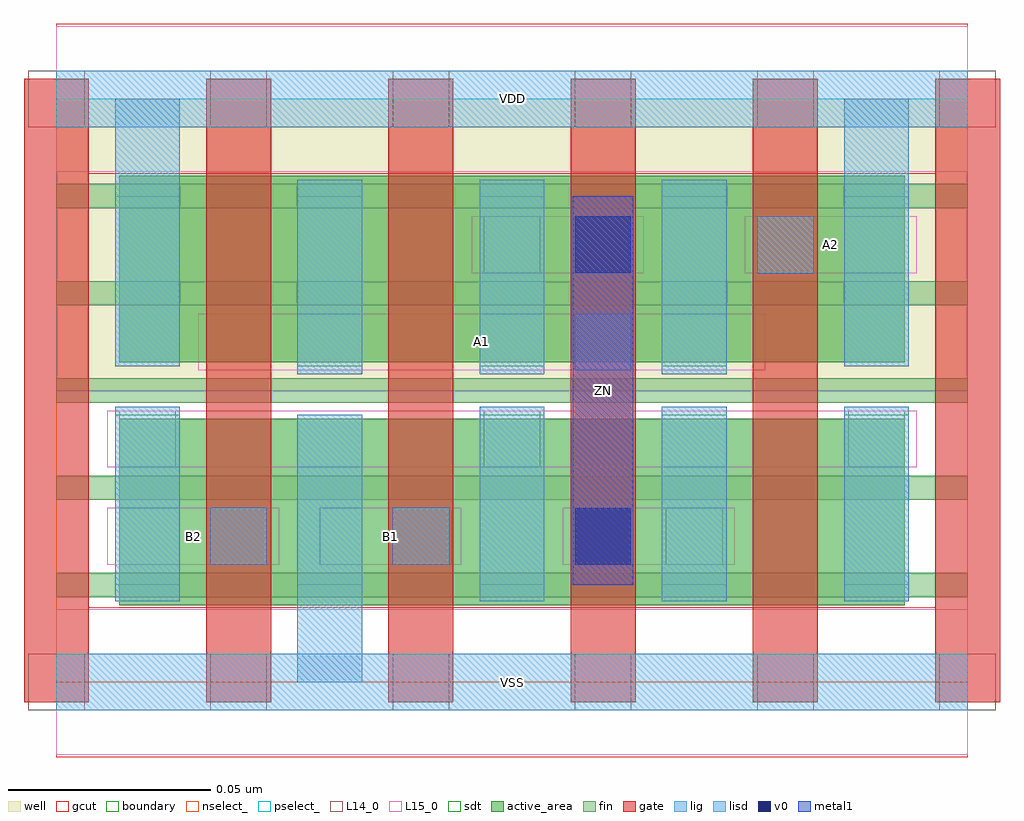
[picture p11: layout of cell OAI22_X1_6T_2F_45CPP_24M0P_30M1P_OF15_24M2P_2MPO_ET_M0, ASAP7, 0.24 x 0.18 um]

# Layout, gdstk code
import gdstk
lib = gdstk.Library(unit=1e-6, precision=2.5e-10)
def R(c, l, rs):  # rectangles x0, y0, x1, y1
    for r in rs: c.add(gdstk.rectangle(r[:2], r[2:], *l))
def A(c, l, x, y, w, h, nx, ny, dx, dy):  # array of equal rectangles
    R(c, l, [(x+i*dx, y+j*dy, x+i*dx+w, y+j*dy+h) for i in range(nx) for j in range(ny)])
well = (1, 0)
fin = (2, 0)
gate = (7, 0)
gcut = (10, 0)
active_area = (11, 0)
nselect_ = (12, 0)
pselect_ = (13, 0)
L14_0 = (14, 0)
L15_0 = (15, 0)
lig = (16, 0)
lisd = (17, 0)
v0 = (18, 0)
metal1 = (19, 0)
sdt = (88, 0)
boundary = (100, 0)

oai22_x1_6t_2f_45cpp_24m = lib.new_cell('OAI22_X1_6T_2F_45CPP_24M0P_30M1P_OF15_24M2P_2MPO_ET_M0')
R(oai22_x1_6t_2f_45cpp_24m, well, [(0,0.072,0.225,0.144)])
A(oai22_x1_6t_2f_45cpp_24m, fin, 0, 0.021, 0.225, 0.006, 1, 5, 0, 0.024)
A(oai22_x1_6t_2f_45cpp_24m, gate, -0.008, -0.005, 0.016, 0.154, 6, 1, 0.045, 0)
R(oai22_x1_6t_2f_45cpp_24m, gcut, [(0,-0.0185,0.225,0.0185), (-0.008,-0.005,0.008,0.149), (0.217,-0.005,0.233,0.149), (0,0.1255,0.225,0.1625)])
A(oai22_x1_6t_2f_45cpp_24m, active_area, 0.0155, 0.019, 0.059, 0.046, 4, 2, 0.045, 0.06)
R(oai22_x1_6t_2f_45cpp_24m, nselect_, [(0,0,0.225,0.072)])
R(oai22_x1_6t_2f_45cpp_24m, pselect_, [(0,0.072,0.225,0.144)])
A(oai22_x1_6t_2f_45cpp_24m, L14_0, -0.007, -0.007, 0.014, 0.014, 6, 2, 0.045, 0.144)
A(oai22_x1_6t_2f_45cpp_24m, L14_0, 0.0155, 0.053, 0.014, 0.014, 3, 1, 0.09, 0)
R(oai22_x1_6t_2f_45cpp_24m, L14_0, [(0.038,0.029,0.052,0.043), (0.083,0.029,0.097,0.043), (0.1505,0.029,0.1645,0.043), (0.128,0.077,0.142,0.091), (0.1055,0.101,0.1195,0.115), (0.173,0.101,0.187,0.115)])
R(oai22_x1_6t_2f_45cpp_24m, L15_0, [(0,-0.018,0.225,0.018), (0.0125,0.029,0.055,0.043), (0.065,0.029,0.1,0.043), (0.125,0.029,0.1675,0.043), (0.0125,0.053,0.2125,0.067), (0.035,0.077,0.175,0.091), (0.1025,0.101,0.145,0.115), (0.17,0.101,0.2125,0.115), (0,0.126,0.225,0.162)])
R(oai22_x1_6t_2f_45cpp_24m, lig, [(0,-0.007,0.225,0.007), (0.038,0.029,0.052,0.043), (0.083,0.029,0.097,0.043), (0.128,0.077,0.142,0.091), (0.173,0.101,0.187,0.115), (0,0.137,0.225,0.151)])
A(oai22_x1_6t_2f_45cpp_24m, lisd, 0.1045, 0.02, 0.016, 0.048, 3, 1, 0.045, 0)
A(oai22_x1_6t_2f_45cpp_24m, lisd, 0.0595, 0.076, 0.016, 0.048, 3, 1, 0.045, 0)
R(oai22_x1_6t_2f_45cpp_24m, lisd, [(0.0595,0,0.0755,0.066), (0.0145,0.02,0.0305,0.068), (0.0145,0.078,0.0305,0.144), (0.1945,0.078,0.2105,0.144)])
R(oai22_x1_6t_2f_45cpp_24m, v0, [(0.128,0.029,0.142,0.043), (0.128,0.101,0.142,0.115)])
R(oai22_x1_6t_2f_45cpp_24m, metal1, [(0.1275,0.024,0.1425,0.12)])
A(oai22_x1_6t_2f_45cpp_24m, sdt, 0.0145, 0.024, 0.016, 0.042, 5, 2, 0.045, 0.054)
R(oai22_x1_6t_2f_45cpp_24m, boundary, [(0,0,0.225,0.144)])
oai22_x1_6t_2f_45cpp_24m.add(gdstk.Label('B2', (0.0338,0.036), layer=15, texttype=251))
oai22_x1_6t_2f_45cpp_24m.add(gdstk.Label('B1', (0.0825,0.036), layer=15, texttype=251))
oai22_x1_6t_2f_45cpp_24m.add(gdstk.Label('A1', (0.105,0.084), layer=15, texttype=251))
oai22_x1_6t_2f_45cpp_24m.add(gdstk.Label('A2', (0.1913,0.108), layer=15, texttype=251))
oai22_x1_6t_2f_45cpp_24m.add(gdstk.Label('VDD', (0.1125,0.144), layer=15, texttype=251))
oai22_x1_6t_2f_45cpp_24m.add(gdstk.Label('VSS', (0.1125,0), layer=15, texttype=251))
oai22_x1_6t_2f_45cpp_24m.add(gdstk.Label('VDD', (0.1125,0.144), layer=1, texttype=251))
oai22_x1_6t_2f_45cpp_24m.add(gdstk.Label('VSS', (0.1125,0), layer=3, texttype=251))
oai22_x1_6t_2f_45cpp_24m.add(gdstk.Label('ZN', (0.135,0.072), layer=19, texttype=251))

lib.write_gds('OAI22_X1_6T_2F_45CPP_24M0P_30M1P_OF15_24M2P_2MPO_ET_M0.gds')
